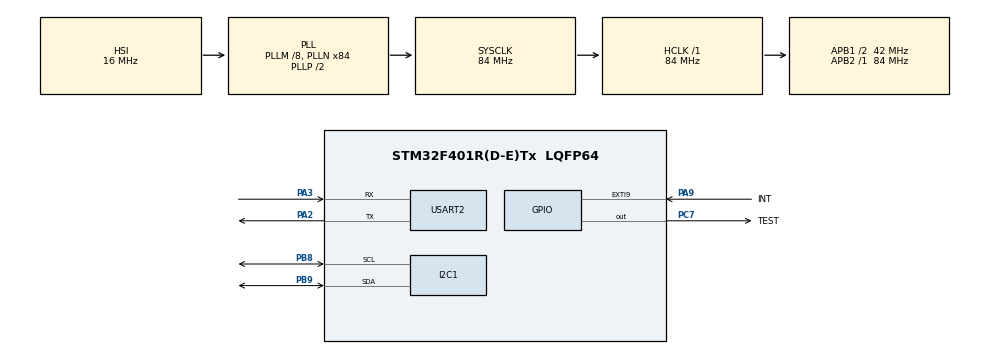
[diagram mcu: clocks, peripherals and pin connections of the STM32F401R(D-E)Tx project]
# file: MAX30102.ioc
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I2C1.I2C_Mode=I2C_Fast
Mcu.Family=STM32F4
Mcu.Name=STM32F401R(D-E)Tx
Mcu.Package=LQFP64
NVIC.EXTI9_5_IRQn=true\:1\:0\:true\:true\:true\:1\:true
NVIC.PriorityGroup=NVIC_PRIORITYGROUP_4
PA2.Mode=Asynchronous
PA2.Signal=USART2_TX
PA3.Mode=Asynchronous
PA3.Signal=USART2_RX
PA9.GPIO_Label=INT
PA9.GPIO_ModeDefaultEXTI=GPIO_MODE_IT_FALLING
PA9.Signal=GPXTI9
PB8.GPIO_PuPdOD=GPIO_NOPULL
PB8.Mode=I2C
PB8.Signal=I2C1_SCL
PB9.GPIO_PuPdOD=GPIO_NOPULL
PB9.Mode=I2C
PB9.Signal=I2C1_SDA
PC7.GPIO_Label=TEST
PC7.Signal=GPIO_Output
ProjectManager.HeapSize=0x200
ProjectManager.StackSize=0x400
ProjectManager.TargetToolchain=SW4STM32
RCC.48MHZClocksFreq_Value=42000000
RCC.AHBFreq_Value=84000000
RCC.APB1CLKDivider=RCC_HCLK_DIV2
RCC.APB1Freq_Value=42000000
RCC.APB1TimFreq_Value=84000000
RCC.APB2Freq_Value=84000000
RCC.APB2TimFreq_Value=84000000
RCC.CortexFreq_Value=84000000
RCC.HCLKFreq_Value=84000000
RCC.HSE_VALUE=25000000
RCC.HSI_VALUE=16000000
RCC.LSE_VALUE=32768
RCC.PLLM=8
RCC.PLLN=84
RCC.SYSCLKFreq_VALUE=84000000
RCC.SYSCLKSource=RCC_SYSCLKSOURCE_PLLCLK
RCC.VCOOutputFreq_Value=168000000
USART2.VirtualMode=VM_ASYNC
board=custom

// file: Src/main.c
/* USER CODE BEGIN Header */
/**
 ******************************************************************************
 * @file           : main.c
 * @brief          : Main program body
 ******************************************************************************
 ** This notice applies to any and all portions of this file
 * that are not between comment pairs USER CODE BEGIN and
 * USER CODE END. Other portions of this file, whether
 * inserted by the user or by software development tools
 * are owned by their respective copyright owners.
 *
 * COPYRIGHT(c) 2019 STMicroelectronics
 *
 * Redistribution and use in source and binary forms, with or without modification,
 * are permitted provided that the following conditions are met:
 *   1. Redistributions of source code must retain the above copyright notice,
 *      this list of conditions and the following disclaimer.
 *   2. Redistributions in binary form must reproduce the above copyright notice,
 *      this list of conditions and the following disclaimer in the documentation
 *      and/or other materials provided with the distribution.
 *   3. Neither the name of STMicroelectronics nor the names of its contributors
 *      may be used to endorse or promote products derived from this software
 *      without specific prior written permission.
 *
 * THIS SOFTWARE IS PROVIDED BY THE COPYRIGHT HOLDERS AND CONTRIBUTORS "AS IS"
 * AND ANY EXPRESS OR IMPLIED WARRANTIES, INCLUDING, BUT NOT LIMITED TO, THE
 * IMPLIED WARRANTIES OF MERCHANTABILITY AND FITNESS FOR A PARTICULAR PURPOSE ARE
 * DISCLAIMED. IN NO EVENT SHALL THE COPYRIGHT HOLDER OR CONTRIBUTORS BE LIABLE
 * FOR ANY DIRECT, INDIRECT, INCIDENTAL, SPECIAL, EXEMPLARY, OR CONSEQUENTIAL
 * DAMAGES (INCLUDING, BUT NOT LIMITED TO, PROCUREMENT OF SUBSTITUTE GOODS OR
 * SERVICES; LOSS OF USE, DATA, OR PROFITS; OR BUSINESS INTERRUPTION) HOWEVER
 * CAUSED AND ON ANY THEORY OF LIABILITY, WHETHER IN CONTRACT, STRICT LIABILITY,
 * OR TORT (INCLUDING NEGLIGENCE OR OTHERWISE) ARISING IN ANY WAY OUT OF THE USE
 * OF THIS SOFTWARE, EVEN IF ADVISED OF THE POSSIBILITY OF SUCH DAMAGE.
 *
 ******************************************************************************
 *	Created on: 13.01.2019
 *  	License: MIT
 *		Author: Mateusz Salamon
 *		www.msalamon.pl
 *		mateusz@msalamon.pl
 *
 *	Website: https://msalamon.pl/palec-mi-pulsuje-pulsometr-max30102-pod-kontrola-stm32/
 *	GitHub:  https://github.com/lamik/MAX30102_STM32_HAL
 *
 */
/* USER CODE END Header */

#include "main.h"
#include "i2c.h"
#include "usart.h"
#include "gpio.h"

/* USER CODE BEGIN Includes */
#include "stdio.h"
#include "string.h"
#include "MAX30102/MAX30102.h"
/* USER CODE END Includes */

/* USER CODE BEGIN PV */
char UartBuffer[32];
/* USER CODE END PV */

void SystemClock_Config(void);
static void MX_NVIC_Init(void);

/* USER CODE BEGIN 0 */
void UART2_SendString(char* s) {
	HAL_UART_Transmit(&huart2, (uint8_t*) s, strlen(s), 1000);
}
/* USER CODE END 0 */

int main(void)
{

  /* MCU Configuration--------------------------------------------------------*/

  /* Reset of all peripherals, Initializes the Flash interface and the Systick. */
  HAL_Init();

  /* Configure the system clock */
  SystemClock_Config();

  /* Initialize all configured peripherals */
  MX_GPIO_Init();
  MX_I2C1_Init();
  MX_USART2_UART_Init();

  /* Initialize interrupts */
  MX_NVIC_Init();
  /* USER CODE BEGIN 2 */
	UART2_SendString("START\n\r");

	Max30102_Init(&hi2c1);

  /* USER CODE END 2 */

  /* Infinite loop */
  /* USER CODE BEGIN WHILE */
	while (1) {
		Max30102_Task();
		sprintf(UartBuffer, "%c[2J%c[H", 27, 27);
		UART2_SendString(UartBuffer);

		sprintf(UartBuffer, "HR: %d\n\rSpO2: %d\n\r", Max30102_GetHeartRate(), Max30102_GetSpO2Value());
		UART2_SendString(UartBuffer);
    /* USER CODE END WHILE */

	}
}

void SystemClock_Config(void)
{
  RCC_OscInitTypeDef RCC_OscInitStruct = {0};
  RCC_ClkInitTypeDef RCC_ClkInitStruct = {0};

  /**Configure the main internal regulator output voltage
  */
  __HAL_RCC_PWR_CLK_ENABLE();
  __HAL_PWR_VOLTAGESCALING_CONFIG(PWR_REGULATOR_VOLTAGE_SCALE2);
  /**Initializes the CPU, AHB and APB busses clocks
  */
  RCC_OscInitStruct.OscillatorType = RCC_OSCILLATORTYPE_HSI;
  RCC_OscInitStruct.HSIState = RCC_HSI_ON;
  RCC_OscInitStruct.HSICalibrationValue = RCC_HSICALIBRATION_DEFAULT;
  RCC_OscInitStruct.PLL.PLLState = RCC_PLL_ON;
  RCC_OscInitStruct.PLL.PLLSource = RCC_PLLSOURCE_HSI;
  RCC_OscInitStruct.PLL.PLLM = 8;
  RCC_OscInitStruct.PLL.PLLN = 84;
  RCC_OscInitStruct.PLL.PLLP = RCC_PLLP_DIV2;
  RCC_OscInitStruct.PLL.PLLQ = 4;
  if (HAL_RCC_OscConfig(&RCC_OscInitStruct) != HAL_OK)
  {
    Error_Handler();
  }
  /**Initializes the CPU, AHB and APB busses clocks
  */
  RCC_ClkInitStruct.ClockType = RCC_CLOCKTYPE_HCLK|RCC_CLOCKTYPE_SYSCLK
                              |RCC_CLOCKTYPE_PCLK1|RCC_CLOCKTYPE_PCLK2;
  RCC_ClkInitStruct.SYSCLKSource = RCC_SYSCLKSOURCE_PLLCLK;
  RCC_ClkInitStruct.AHBCLKDivider = RCC_SYSCLK_DIV1;
  RCC_ClkInitStruct.APB1CLKDivider = RCC_HCLK_DIV2;
  RCC_ClkInitStruct.APB2CLKDivider = RCC_HCLK_DIV1;

  if (HAL_RCC_ClockConfig(&RCC_ClkInitStruct, FLASH_LATENCY_2) != HAL_OK)
  {
    Error_Handler();
  }
}

/**
  * @brief NVIC Configuration.
  * @retval None
  */
static void MX_NVIC_Init(void)
{
  /* EXTI9_5_IRQn interrupt configuration */
  HAL_NVIC_SetPriority(EXTI9_5_IRQn, 1, 0);
  HAL_NVIC_EnableIRQ(EXTI9_5_IRQn);
}

/* USER CODE BEGIN 4 */

void HAL_GPIO_EXTI_Callback(uint16_t GPIO_Pin) {
	if (GPIO_Pin == INT_Pin) {
		Max30102_InterruptCallback();
	}
}

/* USER CODE END 4 */

void Error_Handler(void)
{
}

/************************ (C) COPYRIGHT STMicroelectronics *****END OF FILE****/
